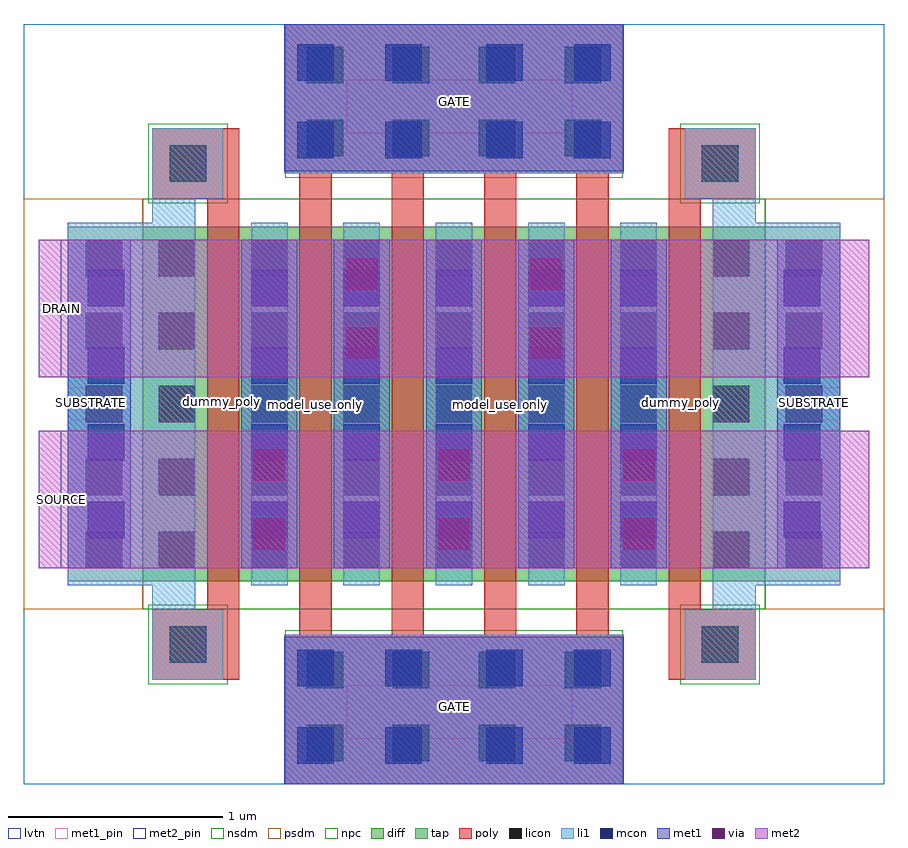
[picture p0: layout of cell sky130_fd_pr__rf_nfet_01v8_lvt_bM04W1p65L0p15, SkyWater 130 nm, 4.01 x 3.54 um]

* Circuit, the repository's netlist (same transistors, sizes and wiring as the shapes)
* Copyright 2020 The SkyWater PDK Authors
*
* Licensed under the Apache License, Version 2.0 (the "License");
* you may not use this file except in compliance with the License.
* You may obtain a copy of the License at
*
*     https://www.apache.org/licenses/LICENSE-2.0
*
* Unless required by applicable law or agreed to in writing, software
* distributed under the License is distributed on an "AS IS" BASIS,
* WITHOUT WARRANTIES OR CONDITIONS OF ANY KIND, either express or implied.
* See the License for the specific language governing permissions and
* limitations under the License.
*
* SPDX-License-Identifier: Apache-2.0


.subckt sky130_fd_pr__rf_nfet_01v8_lvt_bM04W1p65L0p15 DRAIN GATE SOURCE SUBSTRATE
X0 SOURCE SUBSTRATE SUBSTRATE SUBSTRATE sky130_fd_pr__nfet_01v8_lvt w=1.65e+06u l=150000u
X1 DRAIN GATE SOURCE SUBSTRATE sky130_fd_pr__nfet_01v8_lvt w=1.65e+06u l=150000u
X2 DRAIN GATE SOURCE SUBSTRATE sky130_fd_pr__nfet_01v8_lvt w=1.65e+06u l=150000u
X3 SOURCE GATE DRAIN SUBSTRATE sky130_fd_pr__nfet_01v8_lvt w=1.65e+06u l=150000u
X4 SOURCE GATE DRAIN SUBSTRATE sky130_fd_pr__nfet_01v8_lvt w=1.65e+06u l=150000u
X5 SUBSTRATE SUBSTRATE SOURCE SUBSTRATE sky130_fd_pr__nfet_01v8_lvt w=1.65e+06u l=150000u
.ends

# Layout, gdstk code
import gdstk
lib = gdstk.Library(unit=1e-6, precision=1e-09)
def R(c, l, rs):  # rectangles x0, y0, x1, y1
    for r in rs: c.add(gdstk.rectangle(r[:2], r[2:], *l))
def A(c, l, x, y, w, h, nx, ny, dx, dy):  # array of equal rectangles
    R(c, l, [(x+i*dx, y+j*dy, x+i*dx+w, y+j*dy+h) for i in range(nx) for j in range(ny)])
diff = (65, 20)
tap = (65, 44)
poly = (66, 20)
licon = (66, 44)
li1 = (67, 20)
mcon = (67, 44)
met1_pin = (68, 16)
met1 = (68, 20)
via = (68, 44)
met2_pin = (69, 16)
met2 = (69, 20)
nsdm = (93, 44)
psdm = (94, 20)
npc = (95, 20)
lvtn = (125, 44)

sky130_fd_pr__rf_nfet_01 = lib.new_cell('sky130_fd_pr__rf_nfet_01v8_lvt_bM04W1p65L0p15')
R(sky130_fd_pr__rf_nfet_01, diff, [(0.555,0.945,3.455,2.595)])
R(sky130_fd_pr__rf_nfet_01, tap, [(0.205,0.945,0.555,2.595), (3.455,0.945,3.805,2.595)])
A(sky130_fd_pr__rf_nfet_01, poly, 1.285, 0.695, 0.15, 2.15, 4, 1, 0.43, 0)
R(sky130_fd_pr__rf_nfet_01, poly, [(1.215,0,2.795,0.695), (0.6,0.485,0.93,0.815), (0.855,0.485,1.005,3.055), (3.005,0.485,3.155,3.055), (3.08,0.485,3.41,0.815), (0.6,2.725,0.93,3.055), (3.08,2.725,3.41,3.055), (1.215,2.845,2.795,3.54)])
A(sky130_fd_pr__rf_nfet_01, licon, 1.32, 0.105, 0.17, 0.17, 4, 2, 0.4, 0.34)
A(sky130_fd_pr__rf_nfet_01, licon, 0.29, 1.005, 0.17, 0.17, 1, 5, 0, 0.34)
A(sky130_fd_pr__rf_nfet_01, licon, 1.06, 1.005, 0.17, 0.17, 3, 1, 0.43, 0)
A(sky130_fd_pr__rf_nfet_01, licon, 1.92, 1.005, 0.17, 0.17, 3, 1, 0.43, 0)
A(sky130_fd_pr__rf_nfet_01, licon, 3.55, 1.005, 0.17, 0.17, 1, 5, 0, 0.34)
A(sky130_fd_pr__rf_nfet_01, licon, 0.63, 1.345, 0.17, 0.17, 7, 4, 0.43, 0.34)
A(sky130_fd_pr__rf_nfet_01, licon, 1.32, 2.925, 0.17, 0.17, 4, 2, 0.4, 0.34)
R(sky130_fd_pr__rf_nfet_01, licon, [(0.68,0.565,0.85,0.735), (3.16,0.565,3.33,0.735), (0.63,1.005,0.8,1.175), (1.06,1.005,1.23,1.175), (2.78,1.005,2.95,1.175), (3.21,1.005,3.38,1.175), (0.68,2.805,0.85,2.975), (3.16,2.805,3.33,2.975)])
A(sky130_fd_pr__rf_nfet_01, li1, 1.06, 0.925, 0.17, 1.69, 5, 1, 0.43, 0)
R(sky130_fd_pr__rf_nfet_01, li1, [(1.215,0,2.795,0.695), (0.6,0.485,0.93,0.815), (3.08,0.485,3.41,0.815), (0.6,0.815,0.8,0.925), (3.21,0.815,3.41,0.925), (0.205,0.925,0.8,2.615), (3.21,0.925,3.805,2.615), (0.6,2.615,0.8,2.725), (3.21,2.615,3.41,2.725), (0.6,2.725,0.93,3.055), (3.08,2.725,3.41,3.055), (1.215,2.845,2.795,3.54)])
A(sky130_fd_pr__rf_nfet_01, mcon, 0.3, 1.145, 0.17, 0.17, 1, 4, 0, 0.36)
A(sky130_fd_pr__rf_nfet_01, mcon, 1.06, 1.145, 0.17, 0.17, 5, 4, 0.43, 0.36)
A(sky130_fd_pr__rf_nfet_01, mcon, 3.54, 1.145, 0.17, 0.17, 1, 4, 0, 0.36)
R(sky130_fd_pr__rf_nfet_01, mcon, [(1.275,0.095,1.445,0.265), (1.685,0.095,1.855,0.265), (2.155,0.095,2.325,0.265), (2.565,0.095,2.735,0.265), (1.275,0.455,1.445,0.625), (1.685,0.455,1.855,0.625), (2.155,0.455,2.325,0.625), (2.565,0.455,2.735,0.625), (1.275,2.915,1.445,3.085), (1.685,2.915,1.855,3.085), (2.155,2.915,2.325,3.085), (2.565,2.915,2.735,3.085), (1.275,3.275,1.445,3.445), (1.685,3.275,1.855,3.445), (2.155,3.275,2.325,3.445), (2.565,3.275,2.735,3.445)])
R(sky130_fd_pr__rf_nfet_01, met1_pin, [(1.505,0.21,2.555,0.46), (0.205,1.695,0.435,1.845), (3.575,1.695,3.805,1.845), (1.505,3.03,2.555,3.28)])
A(sky130_fd_pr__rf_nfet_01, met1, 1.015, 1.005, 0.26, 1.53, 5, 1, 0.43, 0)
R(sky130_fd_pr__rf_nfet_01, met1, [(1.215,0,2.795,0.685), (0.205,1.005,0.5,2.535), (3.51,1.005,3.805,2.535), (1.215,2.855,2.795,3.54)])
A(sky130_fd_pr__rf_nfet_01, via, 1.07, 1.09, 0.15, 0.15, 3, 2, 0.86, 0.32)
R(sky130_fd_pr__rf_nfet_01, via, [(1.5,1.98,1.65,2.13), (2.36,1.98,2.51,2.13), (1.5,2.3,1.65,2.45), (2.36,2.3,2.51,2.45)])
R(sky130_fd_pr__rf_nfet_01, met2_pin, [(0.07,1.005,0.175,1.645), (0.07,1.895,0.175,2.535)])
R(sky130_fd_pr__rf_nfet_01, met2, [(0.07,1.005,3.94,1.645), (0.07,1.895,3.94,2.535)])
R(sky130_fd_pr__rf_nfet_01, nsdm, [(0.555,0.815,3.455,2.725)])
R(sky130_fd_pr__rf_nfet_01, psdm, [(0,0.815,0.555,2.725), (3.455,0.815,4.01,2.725)])
R(sky130_fd_pr__rf_nfet_01, npc, [(1.22,0,2.79,0.715), (0.58,0.465,0.95,0.835), (3.06,0.465,3.43,0.835), (0.58,2.705,0.95,3.075), (3.06,2.705,3.43,3.075), (1.22,2.825,2.79,3.54)])
R(sky130_fd_pr__rf_nfet_01, lvtn, [(0,0,4.01,3.54)])
sky130_fd_pr__rf_nfet_01.add(gdstk.Label('dummy_poly', (0.92,1.78), layer=83, texttype=44))
sky130_fd_pr__rf_nfet_01.add(gdstk.Label('dummy_poly', (3.06,1.775), layer=83, texttype=44))
sky130_fd_pr__rf_nfet_01.add(gdstk.Label('GATE', (2.005,3.18), layer=68, texttype=5))
sky130_fd_pr__rf_nfet_01.add(gdstk.Label('GATE', (2.005,0.36), layer=68, texttype=5))
sky130_fd_pr__rf_nfet_01.add(gdstk.Label('SUBSTRATE', (3.685,1.775), layer=68, texttype=16))
sky130_fd_pr__rf_nfet_01.add(gdstk.Label('SUBSTRATE', (0.315,1.775), layer=68, texttype=16))
sky130_fd_pr__rf_nfet_01.add(gdstk.Label('model_use_only', (3.065,1.77), layer=66, texttype=83))
sky130_fd_pr__rf_nfet_01.add(gdstk.Label('model_use_only', (1.36,1.77), layer=66, texttype=83))
sky130_fd_pr__rf_nfet_01.add(gdstk.Label('model_use_only', (1.79,1.77), layer=66, texttype=83))
sky130_fd_pr__rf_nfet_01.add(gdstk.Label('model_use_only', (2.65,1.77), layer=66, texttype=83))
sky130_fd_pr__rf_nfet_01.add(gdstk.Label('model_use_only', (2.22,1.77), layer=66, texttype=83))
sky130_fd_pr__rf_nfet_01.add(gdstk.Label('model_use_only', (0.905,1.77), layer=66, texttype=83))
sky130_fd_pr__rf_nfet_01.add(gdstk.Label('SOURCE', (0.175,1.325), layer=69, texttype=5))
sky130_fd_pr__rf_nfet_01.add(gdstk.Label('DRAIN', (0.175,2.215), layer=69, texttype=5))

lib.write_gds('sky130_fd_pr__rf_nfet_01v8_lvt_bM04W1p65L0p15.gds')
